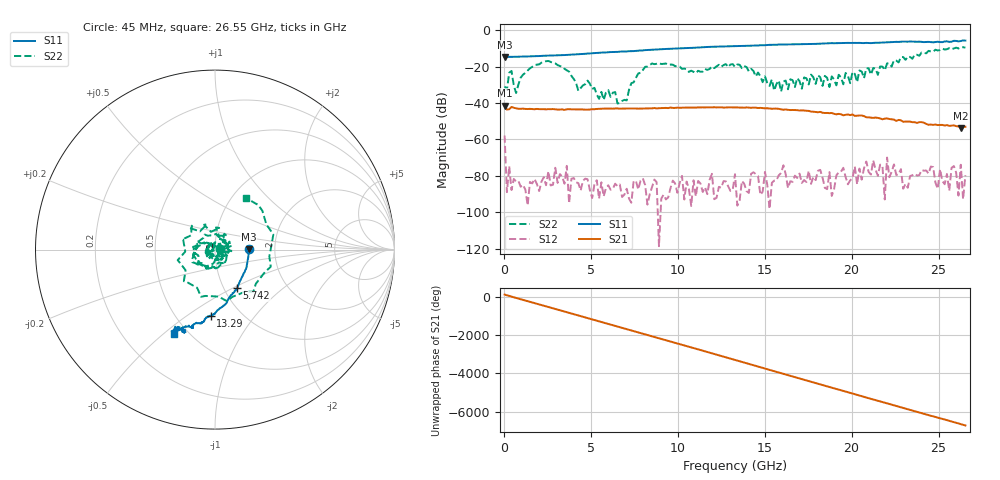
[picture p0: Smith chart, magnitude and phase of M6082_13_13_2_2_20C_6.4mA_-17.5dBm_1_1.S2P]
!  2-Port S-parameters saved by WinCal
! VAR MeasName=S-Parameters (CALIBRATED_DATA) read from VNA (C)
! VAR MeasDate=10/16/2015 10:59:38 AM
! VAR NAME=M6082_13_13_2_2_20C_6.4mA_-17.5dBm
! VAR FILENAME=M6082_13_13_2_2_20C_6.4mA_-17.5dBm_1_1.S2P
! VAR DATE=10/16/2015 10:59:38 AM
! VAR PHYS_PORTS=2,1
! VAR ObjTypeName=DATASET
! VAR IndexType=Frequency
# Hz S RI R 50
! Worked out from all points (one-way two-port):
!   201 points, 45 MHz to 26.55 GHz, reference 50 ohm
!   highest |S21| = -41.33 dB at 45 MHz (marker M1); lowest = -53.6 dB at 26.28 GHz (marker M2)
!   lowest |S11| = -14.6 dB at 45 MHz (marker M3), VSWR 1.46, Z = 73 + j0.16 ohm
!   |S11| at or under -10 dB: start of sweep to 9.883 GHz
!   |S22| runs from -40.2 to -9.2 dB; largest |S21 - S12| = 0.0084
!   S11 on the Smith chart (normalised r, x): 45 MHz: 1.46, +0.00; 5.742 GHz: 1.15, -0.53; 13.29 GHz: 0.73, -0.62; 26.55 GHz: 0.42, -0.54
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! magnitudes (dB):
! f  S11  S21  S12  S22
! 45 MHz  -14.6  -41.3  -57.8  -30.8
! 177.5 MHz  -14.6  -43.5  -89.0  -32.6
! 442.5 MHz  -14.5  -42.1  -87.8  -22.3
! 707.5 MHz  -14.5  -42.8  -83.1  -34.4
! 2.562 GHz  -13.8  -43.3  -77.4  -16.8
! 4.55 GHz  -12.9  -43.5  -82.7  -30.2
! 5.742 GHz  -12.1  -43.0  -91.3  -38.2
! 7.067 GHz  -11.6  -43.0  -87.1  -38.5
! 7.73 GHz  -11.1  -43.1  -87.5  -23.7
! 8.922 GHz  -10.4  -42.8  -118.7  -18.0
! 13.29 GHz  -8.6  -42.4  -79.1  -20.0
! 15.95 GHz  -7.8  -43.4  -78.4  -33.6
! 17.8 GHz  -7.5  -44.7  -80.6  -25.7
! 20.58 GHz  -6.9  -46.8  -82.1  -22.6
! 20.85 GHz  -6.9  -47.8  -72.1  -20.9
! 21.11 GHz  -7.0  -48.0  -79.3  -24.3
! 21.25 GHz  -6.9  -48.1  -71.5  -20.7
! 21.91 GHz  -6.6  -48.5  -93.0  -21.9
! 22.04 GHz  -6.6  -48.4  -69.9  -18.1
! 22.17 GHz  -6.5  -48.7  -80.8  -18.2
! 26.28 GHz  -5.8  -53.6  -73.9  -9.3
! 26.55 GHz  -5.6  -53.0  -79.7  -9.5
